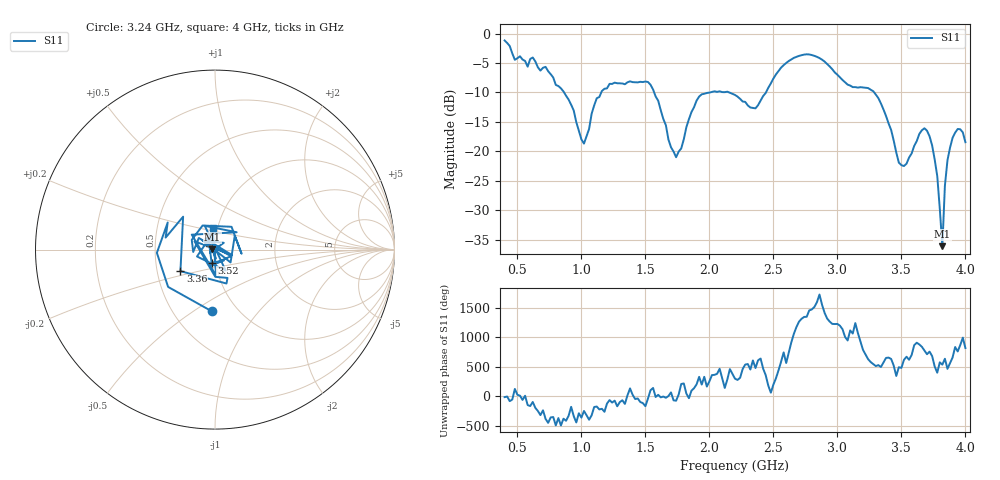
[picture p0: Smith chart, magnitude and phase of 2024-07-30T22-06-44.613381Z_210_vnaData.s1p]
!Created with skrf (http://scikit-rf.org).
# Hz S RI R 50.0
!freq ReS11 ImS11
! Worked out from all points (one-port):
!   181 points, 400 MHz to 4 GHz, reference 50 ohm
!   lowest |S11| = -36.1 dB at 3.82 GHz (marker M1), VSWR 1.03, Z = 48.5 + j0.162 ohm
!   |S11| at or under -10 dB: 1.569 GHz to 2.003 GHz (434.7 MHz wide, 24.3 % of centre); 2.156 GHz to 2.442 GHz (285.6 MHz wide, 12.4 % of centre); 3.288 GHz to end of sweep (the widest 3 of 4)
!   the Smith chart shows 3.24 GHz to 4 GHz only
!   S11 on the Smith chart (normalised r, x): 3.24 GHz: 0.76, -0.60; 3.36 GHz: 0.66, -0.17; 3.52 GHz: 0.95, -0.14; 4 GHz: 0.95, +0.23
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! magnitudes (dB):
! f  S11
! 400 MHz  -1.2
! 480 MHz  -4.4
! 860 MHz  -9.8
! 1.02 GHz  -18.7
! 1.12 GHz  -11.0
! 1.3 GHz  -8.4
! 1.54 GHz  -8.7
! 1.7 GHz  -19.3
! 1.76 GHz  -20.0
! 1.92 GHz  -10.7
! 2.2 GHz  -10.4
! 2.36 GHz  -12.7
! 2.66 GHz  -4.1
! 2.86 GHz  -4.1
! 3.1 GHz  -8.8
! 3.24 GHz  -9.2
! 3.36 GHz  -12.9
! 3.48 GHz  -21.9
! 3.52 GHz  -22.5
! 3.56 GHz  -21.1
! 3.66 GHz  -16.4
! 3.72 GHz  -17.4
! 3.78 GHz  -24.2
! 3.82 GHz  -36.1
! 3.84 GHz  -25.8
! 3.88 GHz  -19.4
! 3.94 GHz  -16.2
! 4 GHz  -18.4
